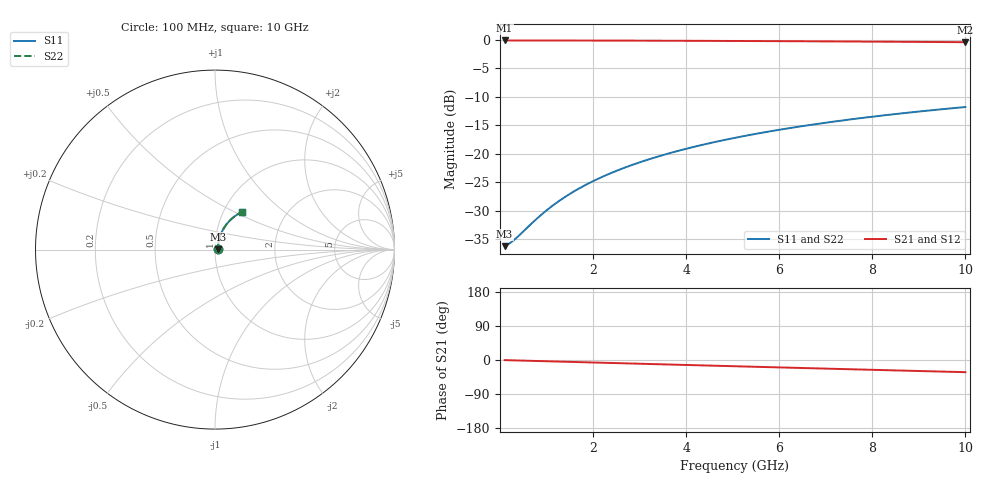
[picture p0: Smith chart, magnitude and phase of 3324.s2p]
# Hz S RI R 50.00
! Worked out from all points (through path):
!   100 points, 100 MHz to 10 GHz, reference 50 ohm
!   highest |S21| = -0.13 dB at 100 MHz (marker M1); lowest = -0.4 dB at 10 GHz (marker M2)
!   group delay of S21, straight-line fit = 8.94 ps
!   lowest |S11| = -36.3 dB at 100 MHz (marker M3), VSWR 1.03, Z = 51.5 + j0.276 ohm
!   |S11| at or under -10 dB: start of sweep to end of sweep
!   |S22| runs from -36.3 to -11.8 dB; largest |S21 - S12| = 0
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1e8  0.0152 0.00268  0.9848 -0.00565  0.9848 -0.00565  0.0152 0.00268
2e8  0.0153 0.00535  0.9847 -0.0113  0.9847 -0.0113  0.0153 0.00535
3e8  0.0155 0.00803  0.9845 -0.0169  0.9845 -0.0169  0.0155 0.00803
4e8  0.0156 0.0107  0.9843 -0.0226  0.9843 -0.0226  0.0156 0.0107
8e8  0.0165 0.0214  0.9832 -0.0451  0.9832 -0.0451  0.0165 0.0214
1.1e9  0.0175 0.0293  0.9819 -0.062  0.9819 -0.062  0.0175 0.0293
1.4e9  0.0187 0.0372  0.9804 -0.0788  0.9804 -0.0788  0.0187 0.0372
1.6e9  0.0197 0.0425  0.9791 -0.09  0.9791 -0.09  0.0197 0.0425
1.8e9  0.0208 0.0477  0.9777 -0.1012  0.9777 -0.1012  0.0208 0.0477
2.1e9  0.0226 0.0555  0.9754 -0.1179  0.9754 -0.1179  0.0226 0.0555
2.5e9  0.0255 0.0658  0.9717 -0.14  0.9717 -0.14  0.0255 0.0658
2.9e9  0.0288 0.0759  0.9674 -0.162  0.9674 -0.162  0.0288 0.0759
3.4e9  0.0335 0.0882  0.9612 -0.1893  0.9612 -0.1893  0.0335 0.0882
3.8e9  0.0378 0.0979  0.9556 -0.2108  0.9556 -0.2108  0.0378 0.0979
4.2e9  0.0426 0.1073  0.9494 -0.2321  0.9494 -0.2321  0.0426 0.1073
4.6e9  0.0477 0.1165  0.9427 -0.2532  0.9427 -0.2532  0.0477 0.1165
5.1e9  0.0547 0.1277  0.9335 -0.2792  0.9335 -0.2792  0.0547 0.1277
5.9e9  0.0671 0.1445  0.9171 -0.3198  0.9171 -0.3198  0.0671 0.1445
6.7e9  0.0809 0.1601  0.8988 -0.3592  0.8988 -0.3592  0.0809 0.1601
7.5e9  0.0959 0.1742  0.8786 -0.3971  0.8786 -0.3971  0.0959 0.1742
8.4e9  0.114 0.1884  0.8539 -0.438  0.8539 -0.438  0.114 0.1884
1e10  0.149 0.2086  0.8053 -0.5058  0.8053 -0.5058  0.149 0.2086
